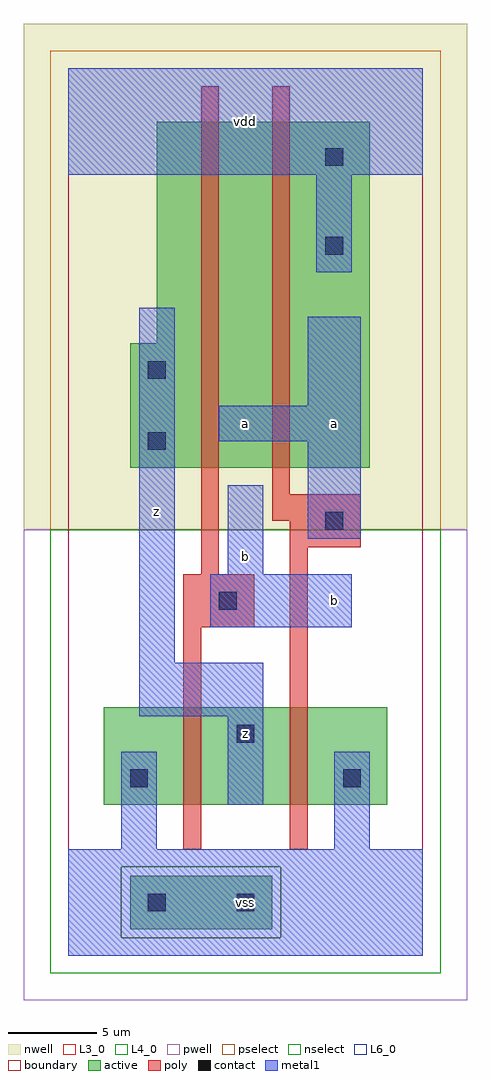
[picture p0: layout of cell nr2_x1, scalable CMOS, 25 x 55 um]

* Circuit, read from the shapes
.subckt nr2_x1 a b vdd vss z
M1 z b vss vss nfet w=5.5u l=1u
M2 vss a z vss nfet w=5.5u l=1u
M3 n1 b z n2 pfet w=19.5u l=1u
M4 vdd a n1 n2 pfet w=19.5u l=1u
.ends

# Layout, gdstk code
import gdstk
lib = gdstk.Library(unit=1e-6, precision=1e-09)
def R(c, l, rs):  # rectangles x0, y0, x1, y1
    for r in rs: c.add(gdstk.rectangle(r[:2], r[2:], *l))
L3_0 = (3, 0)
L4_0 = (4, 0)
L6_0 = (6, 0)
contact = (25, 0)
pwell = (41, 0)
nwell = (42, 0)
active = (43, 0)
pselect = (44, 0)
nselect = (45, 0)
poly = (46, 0)
metal1 = (49, 0)
boundary = (63, 0)

nr2_x1 = lib.new_cell('nr2_x1')
R(nr2_x1, L3_0, [(2,8.5,18,14)])
R(nr2_x1, L4_0, [(3.5,27.5,17,34.5), (5,34.5,17,47)])
R(nr2_x1, L6_0, [(3.5,1.5,11.5,4.5)])
R(nr2_x1, contact, [(4.5,2.5,5.5,3.5), (9.5,2.5,10.5,3.5), (3.5,9.5,4.5,10.5), (15.5,9.5,16.5,10.5), (9.5,12,10.5,13), (8.5,19.5,9.5,20.5), (14.5,24,15.5,25), (4.5,28.5,5.5,29.5), (4.5,32.5,5.5,33.5), (14.5,39.5,15.5,40.5), (14.5,44.5,15.5,45.5)])
R(nr2_x1, pwell, [(-2.5,-2.5,22.5,24)])
R(nr2_x1, nwell, [(-2.5,24,22.5,52.5)])
R(nr2_x1, active, [(3.5,1.5,11.5,4.5), (2,8.5,18,14), (3.5,27.5,17,34.5), (5,34.5,17,47)])
R(nr2_x1, pselect, [(3,1,12,5), (-1,24,21,51)])
R(nr2_x1, nselect, [(-1,-1,21,1), (-1,1,3,5), (12,1,21,5), (-1,5,21,24)])
R(nr2_x1, poly, [(6.5,6,7.5,18.5), (12.5,6,13.5,23), (6.5,18.5,10.5,21.5), (7.5,21.5,8.5,49), (12.5,23,16.5,24.5), (11.5,24.5,16.5,26), (11.5,26,12.5,49)])
R(nr2_x1, metal1, [(0,0,20,6), (0,0,20,6), (3,6,5,11.5), (3,6,5,11.5), (15,6,17,11.5), (15,6,17,11.5), (9,8.5,11,13.5), (9,8.5,11,13.5), (4,13.5,11,16.5), (4,13.5,11,16.5), (4,16.5,6,36.5), (4,16.5,6,36.5), (8,18.5,16,21.5), (8,18.5,16,21.5), (9,21.5,11,26.5), (9,21.5,11,26.5), (13.5,23.5,16.5,29), (13.5,23.5,16.5,29), (8.5,29,16.5,31), (8.5,29,16.5,31), (13.5,31,16.5,36), (13.5,31,16.5,36), (14,38.5,16,44), (14,38.5,16,44), (0,44,20,50), (0,44,20,50)])
R(nr2_x1, boundary, [(0,0,20,50)])
nr2_x1.add(gdstk.Label('z', (5,25), layer=49, texttype=0))
nr2_x1.add(gdstk.Label('vss', (10,3), layer=49, texttype=0))
nr2_x1.add(gdstk.Label('z', (10,12.5), layer=49, texttype=0))
nr2_x1.add(gdstk.Label('b', (10,22.5), layer=49, texttype=0))
nr2_x1.add(gdstk.Label('a', (10,30), layer=49, texttype=0))
nr2_x1.add(gdstk.Label('vdd', (10,47), layer=49, texttype=0))
nr2_x1.add(gdstk.Label('b', (15,20), layer=49, texttype=0))
nr2_x1.add(gdstk.Label('a', (15,30), layer=49, texttype=0))

lib.write_gds('nr2_x1.gds')
